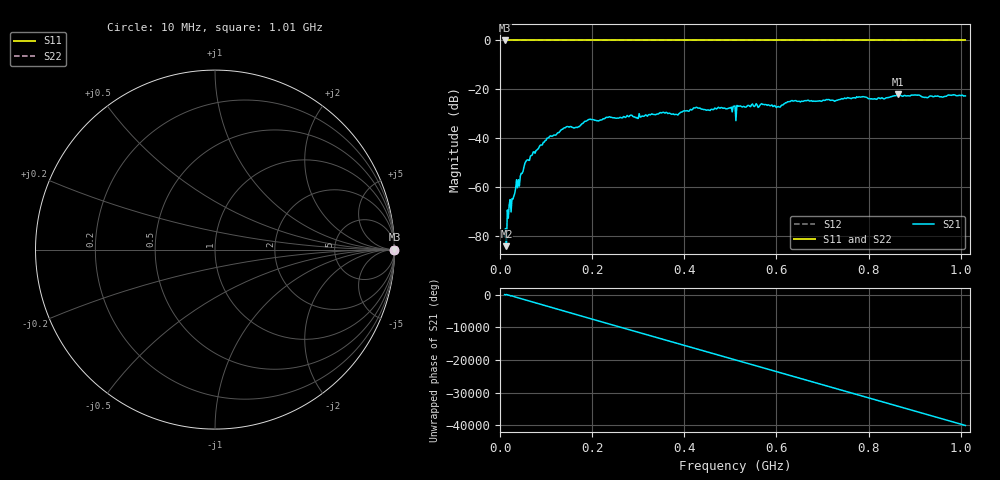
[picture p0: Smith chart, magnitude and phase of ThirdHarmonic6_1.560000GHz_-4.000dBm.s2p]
! 8/16/2025 6:31:45 PM
! C:\ANRITSUVNA\TEMP\TEMP.S2P
! CHANNEL.1
! TR.MEASUREMENT
! RAW.DATA
! RF.CORRECTION.OFF
! AVERAGING.OFF
! IF.BANDWIDTH: 5KHZ
! SWEEPTYPE:  FREQ.SWEEP(Linear)
! Reference Plane Port Info
! PORT:  PORT1  PORT2
! DISTANCE:  0  m  0  m
! TIME:  0  s  0  s
! PHASE.OFFSET:  0  deg.  0  deg.
! LOSS:  0  dB  0  dB
! REF.LOSS:  0  dB  0  dB
! REF.FREQ:  0  Hz  0  Hz
! Power Info
! POWER:  -20  dBm  -20  dBm
! EFF.POWER:  -20  dBm  -20  dBm
! SOURCE.ATTEN:  0  dB  0  dB
! TEST.ATTEN:  0  dB  0  dB
# GHZ S RI R 50.0
! FREQ.GHZ  S11RE  S11IM  S21RE  S21IM  S12RE  S12IM  S22RE  S22IM
!; PortSelection: Port_12
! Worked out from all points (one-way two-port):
!   501 points, 10 MHz to 1.01 GHz, reference 50 ohm
!   highest |S21| = -22.06 dB at 864 MHz (marker M1); lowest = -84.2 dB at 14 MHz (marker M2)
!   lowest |S11| = 0.0 dB at 10 MHz (marker M3)
!   |S11| at or under -10 dB: nowhere
!   |S22| runs from 0.0 to 0.0 dB; largest |S21 - S12| = 1.1
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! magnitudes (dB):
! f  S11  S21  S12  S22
! 10 MHz  0.0  -80.3  0.0  0.0
! 14 MHz  0.0  -84.2  0.0  0.0
! 20 MHz  0.0  -67.2  0.0  0.0
! 24 MHz  0.0  -70.2  0.0  0.0
! 36 MHz  0.0  -57.0  0.0  0.0
! 58 MHz  0.0  -49.1  0.0  0.0
! 106 MHz  0.0  -39.7  0.0  0.0
! 142 MHz  0.0  -35.7  0.0  0.0
! 164 MHz  0.0  -35.6  0.0  0.0
! 178 MHz  0.0  -34.1  0.0  0.0
! 194 MHz  0.0  -32.3  0.0  0.0
! 344 MHz  0.0  -30.1  0.0  0.0
! 384 MHz  0.0  -30.3  0.0  0.0
! 424 MHz  0.0  -27.6  0.0  0.0
! 510 MHz  0.0  -26.8  0.0  0.0
! 518 MHz  0.0  -26.9  0.0  0.0
! 604 MHz  0.0  -27.0  0.0  0.0
! 630 MHz  0.0  -25.0  0.0  0.0
! 678 MHz  0.0  -24.9  0.0  0.0
! 844 MHz  0.0  -23.3  0.0  0.0
! 864 MHz  0.0  -22.1  0.0  0.0
! 1.01 GHz  0.0  -22.7  0.0  0.0
